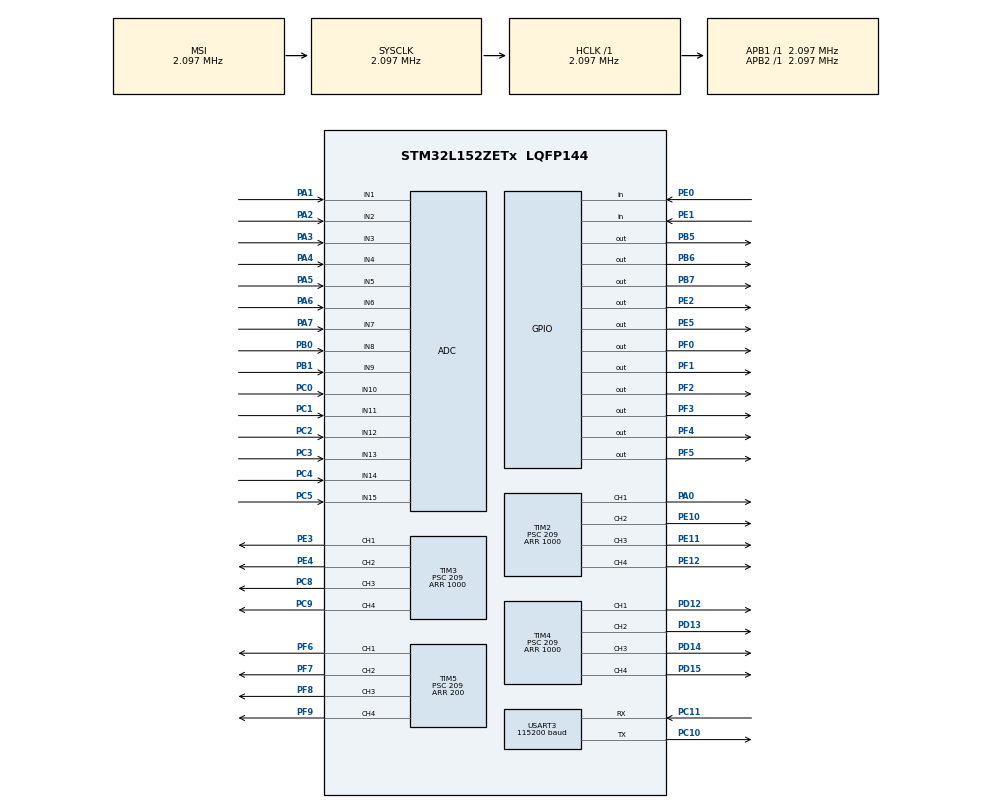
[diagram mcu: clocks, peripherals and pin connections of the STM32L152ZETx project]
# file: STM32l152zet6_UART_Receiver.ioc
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ADC.Channel-48\#ChannelRegularConversion=ADC_CHANNEL_11
ADC.Channel-49\#ChannelRegularConversion=ADC_CHANNEL_12
ADC.Channel-50\#ChannelRegularConversion=ADC_CHANNEL_13
ADC.Channel-51\#ChannelRegularConversion=ADC_CHANNEL_14
ADC.Channel-52\#ChannelRegularConversion=ADC_CHANNEL_15
ADC.Channel-53\#ChannelRegularConversion=ADC_CHANNEL_6
ADC.Channel-54\#ChannelRegularConversion=ADC_CHANNEL_7
ADC.Channel-55\#ChannelRegularConversion=ADC_CHANNEL_8
ADC.Channel-56\#ChannelRegularConversion=ADC_CHANNEL_9
ADC.Channel-57\#ChannelRegularConversion=ADC_CHANNEL_10
ADC.Channel-58\#ChannelRegularConversion=ADC_CHANNEL_1
ADC.ContinuousConvMode=ENABLE
ADC.DMAContinuousRequests=ENABLE
ADC.NbrOfConversion=11
ADC.NbrOfConversionFlag=1
ADC.Rank-48\#ChannelRegularConversion=1
ADC.Rank-49\#ChannelRegularConversion=2
ADC.Rank-50\#ChannelRegularConversion=3
ADC.Rank-51\#ChannelRegularConversion=4
ADC.Rank-52\#ChannelRegularConversion=5
ADC.Rank-53\#ChannelRegularConversion=6
ADC.Rank-54\#ChannelRegularConversion=7
ADC.Rank-55\#ChannelRegularConversion=8
ADC.Rank-56\#ChannelRegularConversion=9
ADC.Rank-57\#ChannelRegularConversion=10
ADC.Rank-58\#ChannelRegularConversion=11
ADC.SamplingTime-48\#ChannelRegularConversion=ADC_SAMPLETIME_384CYCLES
ADC.SamplingTime-49\#ChannelRegularConversion=ADC_SAMPLETIME_384CYCLES
ADC.SamplingTime-50\#ChannelRegularConversion=ADC_SAMPLETIME_384CYCLES
ADC.SamplingTime-51\#ChannelRegularConversion=ADC_SAMPLETIME_384CYCLES
ADC.SamplingTime-52\#ChannelRegularConversion=ADC_SAMPLETIME_384CYCLES
ADC.SamplingTime-53\#ChannelRegularConversion=ADC_SAMPLETIME_384CYCLES
ADC.SamplingTime-54\#ChannelRegularConversion=ADC_SAMPLETIME_384CYCLES
ADC.SamplingTime-55\#ChannelRegularConversion=ADC_SAMPLETIME_384CYCLES
ADC.SamplingTime-56\#ChannelRegularConversion=ADC_SAMPLETIME_384CYCLES
ADC.SamplingTime-57\#ChannelRegularConversion=ADC_SAMPLETIME_384CYCLES
ADC.SamplingTime-58\#ChannelRegularConversion=ADC_SAMPLETIME_384CYCLES
ADC.ScanConvMode=ADC_SCAN_ENABLE
Dma.ADC.0.Direction=DMA_PERIPH_TO_MEMORY
Dma.ADC.0.Instance=DMA1_Channel1
Dma.ADC.0.MemDataAlignment=DMA_MDATAALIGN_WORD
Dma.ADC.0.MemInc=DMA_MINC_ENABLE
Dma.ADC.0.Mode=DMA_CIRCULAR
Dma.ADC.0.PeriphDataAlignment=DMA_PDATAALIGN_WORD
Dma.ADC.0.PeriphInc=DMA_PINC_DISABLE
Dma.ADC.0.Priority=DMA_PRIORITY_LOW
Dma.Request0=ADC
Dma.Request1=USART3_RX
Dma.USART3_RX.1.Direction=DMA_PERIPH_TO_MEMORY
Dma.USART3_RX.1.Instance=DMA1_Channel3
Dma.USART3_RX.1.MemDataAlignment=DMA_MDATAALIGN_BYTE
Dma.USART3_RX.1.MemInc=DMA_MINC_ENABLE
Dma.USART3_RX.1.Mode=DMA_CIRCULAR
Dma.USART3_RX.1.PeriphDataAlignment=DMA_PDATAALIGN_BYTE
Dma.USART3_RX.1.PeriphInc=DMA_PINC_DISABLE
Dma.USART3_RX.1.Priority=DMA_PRIORITY_LOW
Mcu.Family=STM32L1
Mcu.Name=STM32L152ZETx
Mcu.Package=LQFP144
NVIC.DMA1_Channel1_IRQn=true\:0\:0\:false\:false\:true\:false
NVIC.DMA1_Channel3_IRQn=true\:0\:0\:false\:false\:true\:false
NVIC.PriorityGroup=NVIC_PRIORITYGROUP_4
NVIC.TIM10_IRQn=true\:0\:0\:false\:false\:true\:true
NVIC.TIM11_IRQn=true\:0\:0\:false\:false\:true\:true
NVIC.TIM2_IRQn=true\:0\:0\:false\:false\:true\:true
NVIC.TIM3_IRQn=true\:0\:0\:false\:false\:true\:true
NVIC.TIM4_IRQn=true\:0\:0\:false\:false\:true\:true
NVIC.TIM7_IRQn=true\:0\:0\:false\:false\:true\:true
NVIC.USART3_IRQn=true\:0\:0\:false\:false\:true\:true
PA0-WKUP1.Signal=S_TIM2_CH1_ETR
PA1.Mode=IN1
PA1.Signal=ADC_IN1
PA2.Mode=IN2
PA2.Signal=ADC_IN2
PA3.Mode=IN3
PA3.Signal=ADC_IN3
PA4.Mode=IN4
PA4.Signal=ADC_IN4
PA5.Mode=IN5
PA5.Signal=ADC_IN5
PA6.Mode=IN6
PA6.Signal=ADC_IN6
PA7.Mode=IN7
PA7.Signal=ADC_IN7
PB0.Mode=IN8
PB0.Signal=ADC_IN8
PB1.Mode=IN9
PB1.Signal=ADC_IN9
PB5.Signal=GPIO_Output
PB6.Signal=GPIO_Output
PB7.Signal=GPIO_Output
PC0.Mode=IN10
PC0.Signal=ADC_IN10
PC1.Mode=IN11
PC1.Signal=ADC_IN11
PC10.Mode=Asynchronous
PC10.Signal=USART3_TX
PC11.Mode=Asynchronous
PC11.Signal=USART3_RX
PC2.Mode=IN12
PC2.Signal=ADC_IN12
PC3.Mode=IN13
PC3.Signal=ADC_IN13
PC4.Mode=IN14
PC4.Signal=ADC_IN14
PC5.Mode=IN15
PC5.Signal=ADC_IN15
PC8.Signal=S_TIM3_CH3
PC9.Signal=S_TIM3_CH4
PD12.Signal=S_TIM4_CH1
PD13.Signal=S_TIM4_CH2
PD14.Signal=S_TIM4_CH3
PD15.Signal=S_TIM4_CH4
PE0.Signal=GPIO_Input
PE1.Signal=GPIO_Input
PE10.Signal=S_TIM2_CH2
PE11.Signal=S_TIM2_CH3
PE12.Signal=S_TIM2_CH4
PE2.Signal=GPIO_Output
PE3.Signal=S_TIM3_CH1
PE4.Signal=S_TIM3_CH2
PE5.Signal=GPIO_Output
PF0.Signal=GPIO_Output
PF1.Signal=GPIO_Output
PF2.Signal=GPIO_Output
PF3.Signal=GPIO_Output
PF4.Signal=GPIO_Output
PF5.Signal=GPIO_Output
PF6.Signal=S_TIM5_CH1_ETR
PF7.Signal=S_TIM5_CH2
PF8.Signal=S_TIM5_CH3
PF9.Signal=S_TIM5_CH4
ProjectManager.HeapSize=0x200
ProjectManager.StackSize=0x400
ProjectManager.TargetToolchain=SW4STM32
RCC.AHBFreq_Value=2097000
RCC.APB1Freq_Value=2097000
RCC.APB2Freq_Value=2097000
RCC.HSE_VALUE=24000000
RCC.HSI_VALUE=16000000
RCC.LSE_VALUE=32768
RCC.MSI_VALUE=2097000
RCC.SYSCLKFreq_VALUE=2097000
RCC.VCOOutputFreq_Value=48000000
SH.S_TIM2_CH1_ETR.0=TIM2_CH1,PWM Generation1 CH1
SH.S_TIM2_CH2.0=TIM2_CH2,PWM Generation2 CH2
SH.S_TIM2_CH3.0=TIM2_CH3,PWM Generation3 CH3
SH.S_TIM2_CH4.0=TIM2_CH4,PWM Generation4 CH4
SH.S_TIM3_CH1.0=TIM3_CH1,PWM Generation1 CH1
SH.S_TIM3_CH2.0=TIM3_CH2,PWM Generation2 CH2
SH.S_TIM3_CH3.0=TIM3_CH3,PWM Generation3 CH3
SH.S_TIM3_CH4.0=TIM3_CH4,PWM Generation4 CH4
SH.S_TIM4_CH1.0=TIM4_CH1,PWM Generation1 CH1
SH.S_TIM4_CH2.0=TIM4_CH2,PWM Generation2 CH2
SH.S_TIM4_CH3.0=TIM4_CH3,PWM Generation3 CH3
SH.S_TIM4_CH4.0=TIM4_CH4,PWM Generation4 CH4
SH.S_TIM5_CH1_ETR.0=TIM5_CH1,PWM Generation1 CH1
SH.S_TIM5_CH2.0=TIM5_CH2,PWM Generation2 CH2
SH.S_TIM5_CH3.0=TIM5_CH3,PWM Generation3 CH3
SH.S_TIM5_CH4.0=TIM5_CH4,PWM Generation4 CH4
TIM10.Period=3000
TIM10.Prescaler=2097
TIM11.Period=100
TIM11.Prescaler=2097
TIM2.Channel-PWM\ Generation1\ CH1=TIM_CHANNEL_1
TIM2.Channel-PWM\ Generation2\ CH2=TIM_CHANNEL_2
TIM2.Channel-PWM\ Generation3\ CH3=TIM_CHANNEL_3
TIM2.Channel-PWM\ Generation4\ CH4=TIM_CHANNEL_4
TIM2.Period=1000
TIM2.Prescaler=209
TIM3.Channel-PWM\ Generation1\ CH1=TIM_CHANNEL_1
TIM3.Channel-PWM\ Generation2\ CH2=TIM_CHANNEL_2
TIM3.Channel-PWM\ Generation3\ CH3=TIM_CHANNEL_3
TIM3.Channel-PWM\ Generation4\ CH4=TIM_CHANNEL_4
TIM3.Period=1000
TIM3.Prescaler=209
TIM4.Channel-PWM\ Generation1\ CH1=TIM_CHANNEL_1
TIM4.Channel-PWM\ Generation2\ CH2=TIM_CHANNEL_2
TIM4.Channel-PWM\ Generation3\ CH3=TIM_CHANNEL_3
TIM4.Channel-PWM\ Generation4\ CH4=TIM_CHANNEL_4
TIM4.Period=1000
TIM4.Prescaler=209
TIM5.Channel-PWM\ Generation1\ CH1=TIM_CHANNEL_1
TIM5.Channel-PWM\ Generation2\ CH2=TIM_CHANNEL_2
TIM5.Channel-PWM\ Generation3\ CH3=TIM_CHANNEL_3
TIM5.Channel-PWM\ Generation4\ CH4=TIM_CHANNEL_4
TIM5.Period=200
TIM5.Prescaler=209
TIM7.Period=100
TIM7.Prescaler=2097
USART3.BaudRate=115200
USART3.VirtualMode=VM_ASYNC
VP_ADC_Channel3SpeedFast.Mode=Channel3SpeedFast
VP_ADC_Channel8SpeedFast.Mode=Channel8SpeedFast
VP_TIM10_VS_ClockSourceINT.Mode=Internal
VP_TIM11_VS_ClockSourceINT.Mode=Internal
VP_TIM2_VS_ClockSourceINT.Mode=Internal
VP_TIM3_VS_ClockSourceINT.Mode=Internal
VP_TIM4_VS_ClockSourceINT.Mode=Internal
VP_TIM5_VS_ClockSourceINT.Mode=Internal
VP_TIM7_VS_ClockSourceINT.Mode=Enable_Timer
board=custom

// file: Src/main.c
/**
  ******************************************************************************
  * @file           : main.c
  * @brief          : Main program body
  ******************************************************************************
  ** This notice applies to any and all portions of this file
  * that are not between comment pairs USER CODE BEGIN and
  * USER CODE END. Other portions of this file, whether
  * inserted by the user or by software development tools
  * are owned by their respective copyright owners.
  *
  * COPYRIGHT(c) 2018 STMicroelectronics
  *
  * Redistribution and use in source and binary forms, with or without modification,
  * are permitted provided that the following conditions are met:
  *   1. Redistributions of source code must retain the above copyright notice,
  *      this list of conditions and the following disclaimer.
  *   2. Redistributions in binary form must reproduce the above copyright notice,
  *      this list of conditions and the following disclaimer in the documentation
  *      and/or other materials provided with the distribution.
  *   3. Neither the name of STMicroelectronics nor the names of its contributors
  *      may be used to endorse or promote products derived from this software
  *      without specific prior written permission.
  *
  * THIS SOFTWARE IS PROVIDED BY THE COPYRIGHT HOLDERS AND CONTRIBUTORS "AS IS"
  * AND ANY EXPRESS OR IMPLIED WARRANTIES, INCLUDING, BUT NOT LIMITED TO, THE
  * IMPLIED WARRANTIES OF MERCHANTABILITY AND FITNESS FOR A PARTICULAR PURPOSE ARE
  * DISCLAIMED. IN NO EVENT SHALL THE COPYRIGHT HOLDER OR CONTRIBUTORS BE LIABLE
  * FOR ANY DIRECT, INDIRECT, INCIDENTAL, SPECIAL, EXEMPLARY, OR CONSEQUENTIAL
  * DAMAGES (INCLUDING, BUT NOT LIMITED TO, PROCUREMENT OF SUBSTITUTE GOODS OR
  * SERVICES; LOSS OF USE, DATA, OR PROFITS; OR BUSINESS INTERRUPTION) HOWEVER
  * CAUSED AND ON ANY THEORY OF LIABILITY, WHETHER IN CONTRACT, STRICT LIABILITY,
  * OR TORT (INCLUDING NEGLIGENCE OR OTHERWISE) ARISING IN ANY WAY OUT OF THE USE
  * OF THIS SOFTWARE, EVEN IF ADVISED OF THE POSSIBILITY OF SUCH DAMAGE.
  *
  ******************************************************************************
  */
#include "main.h"
#include "stm32l1xx_hal.h"

ADC_HandleTypeDef hadc;
DMA_HandleTypeDef hdma_adc;

TIM_HandleTypeDef htim2;
TIM_HandleTypeDef htim3;
TIM_HandleTypeDef htim4;
TIM_HandleTypeDef htim5;
TIM_HandleTypeDef htim7;
TIM_HandleTypeDef htim10;
TIM_HandleTypeDef htim11;

UART_HandleTypeDef huart3;
DMA_HandleTypeDef hdma_usart3_rx;

/* USER CODE BEGIN PV */
/* Private variables ---------------------------------------------------------*/
#include "stm32l152c_discovery.h"

#define servoInit	2
static GPIO_InitTypeDef GPIO_InitStruct;

int receivedValue=0;
int adcValue=0;
int prev=0;
int count=0;
uint32_t adc[10], prevADC[5];
uint32_t curstep[5], expectedStep[5];
uint32_t sensor[11];
uint32_t servo[5], spiData[5];
long int k=0;

// Temperature PV
int T_errorSum[5] = {0,0,0,0,0};
uint32_t PeltierFlag = 0;
uint32_t * temperature_fb = sensor+5;
uint32_t * temperature_in = adc + 5;
uint32_t HEATING	= 1;
uint32_t	COOLING	= 0;

uint32_t	PELTIER_1 =	0x01;
uint32_t	PELTIER_2 =	0x02;
uint32_t	PELTIER_3 =	0x04;
uint32_t	PELTIER_4 =	0x08;
uint32_t	PELTIER_5 =	0x10;

uint32_t tempV = 0;

/* USER CODE END PV */

void SystemClock_Config(void);
static void MX_GPIO_Init(void);
static void MX_DMA_Init(void);
static void MX_TIM2_Init(void);
static void MX_TIM3_Init(void);
static void MX_TIM10_Init(void);
static void MX_TIM7_Init(void);
static void MX_USART3_UART_Init(void);
static void MX_TIM4_Init(void);
static void MX_TIM5_Init(void);
static void MX_ADC_Init(void);
static void MX_TIM11_Init(void);

void HAL_TIM_MspPostInit(TIM_HandleTypeDef *htim);

/* USER CODE BEGIN PFP */
/* Private function prototypes -----------------------------------------------*/

/* USER CODE END PFP */

/* USER CODE BEGIN 0 */
#include "pwm.h"

//void FourPtAvg(uint32_t N, uint32_t * ADC_data, uint32_t ADC_data_buffer[][5], uint32_t * _ADC_buffer_pt, uint32_t * avg_data){
//	uint32_t temp;
//	for(int i=0; i<N; i++){
//		ADC_data_buffer[*_ADC_buffer_pt][i] = ADC_data[i];
//		temp=0;
//		for(int j=0; j<4; j++){
//			//sum up
//			temp += ADC_data_buffer[j][i];
//		}
//		//do avg
//		temp = temp >> 2;
//		avg_data[i] = temp;
//	}
//	*_ADC_buffer_pt += 1;
//}

void PWM_Peltier_Control(uint32_t * avg_in_data, uint32_t * avg_fb_data, int * errorSum){
	int PWM = 0;
	int tempPWM;
	uint32_t PeltierN = 1;
	int e;
	uint32_t HC = _COOLING;
	for(int i=0; i<5; i++){
			e = TemperatureLinearizeTable[avg_in_data[i]>>4]-TemperatureLinearizeTable[avg_fb_data[i]>>4];
			errorSum[i] = errorSum[i]+e;
			//limit the maximum number
			if (errorSum[i]>10000){errorSum[i]=5000;}
			else if(errorSum[i]<-5000){errorSum[i]=-5000;}

			tempPWM = P_H*e + I_H*(errorSum[i])/I_D_H;
			//choose Heating or Cooling and limit the PWM duty below period
			if(tempPWM>PWM_LIMIT) {
				PWM=PWM_LIMIT;
				HC = _HEATING;
			}else if(tempPWM>0) {
				PWM=tempPWM;
				HC = _HEATING;
			}else if(tempPWM>(PWM_LIMIT *(-1))) {
				PWM=tempPWM*(-1);
				HC = _COOLING;
			}else {
				PWM= PWM_LIMIT;
				HC = _COOLING;
			}
			PWM_Peltier_SetPWM(PeltierN, HC, PWM);

//			PWM_Peltier_SetPWM(PeltierN, _COOLING, 0);

		PWM_Peltier_Start(PeltierN);
		PeltierN = PeltierN << 1; //switch to next Peltier Cooler
	}
}

void PWM_Peltier_SetPWM(uint32_t PeltierN, uint32_t HC, uint32_t PWM){
	if(PeltierN == _PELTIER_1){
		if(HC == _HEATING){
			__HAL_TIM_SetCompare(&htim3, TIM_CHANNEL_1, PWM);
			__HAL_TIM_SetCompare(&htim3, TIM_CHANNEL_2, 0);
		}else{
			__HAL_TIM_SetCompare(&htim3, TIM_CHANNEL_1, 0);
			__HAL_TIM_SetCompare(&htim3, TIM_CHANNEL_2, PWM);
		}

	}else if(PeltierN == _PELTIER_2){
		if(HC == _HEATING){
			__HAL_TIM_SetCompare(&htim3, TIM_CHANNEL_3, PWM);
			__HAL_TIM_SetCompare(&htim3, TIM_CHANNEL_4, 0);
		}else{
			__HAL_TIM_SetCompare(&htim3, TIM_CHANNEL_3, 0);
			__HAL_TIM_SetCompare(&htim3, TIM_CHANNEL_4, PWM);
		}
	}else if(PeltierN == _PELTIER_3){
		if(HC == _HEATING){
			__HAL_TIM_SetCompare(&htim4, TIM_CHANNEL_3, PWM);
			__HAL_TIM_SetCompare(&htim4, TIM_CHANNEL_4, 0);
		}else{
			__HAL_TIM_SetCompare(&htim4, TIM_CHANNEL_3, 0);
			__HAL_TIM_SetCompare(&htim4, TIM_CHANNEL_4, PWM);
		}
	}else if(PeltierN == _PELTIER_4){
		if(HC == _HEATING){
			__HAL_TIM_SetCompare(&htim4, TIM_CHANNEL_1, PWM);
			__HAL_TIM_SetCompare(&htim4, TIM_CHANNEL_2, 0);
		}else{
			__HAL_TIM_SetCompare(&htim4, TIM_CHANNEL_1, 0);
			__HAL_TIM_SetCompare(&htim4, TIM_CHANNEL_2, PWM);
		}
	}else{
		if(HC == _HEATING){
			__HAL_TIM_SetCompare(&htim2, TIM_CHANNEL_3, PWM);
			__HAL_TIM_SetCompare(&htim2, TIM_CHANNEL_4, 0);
		}else{
			__HAL_TIM_SetCompare(&htim2, TIM_CHANNEL_3, 0);
			__HAL_TIM_SetCompare(&htim2, TIM_CHANNEL_4, PWM);
		}
	}
}

void PWM_Peltier_Start(uint32_t PeltierN){
	if(PeltierN == _PELTIER_1){
		HAL_TIM_PWM_Start(&htim3, TIM_CHANNEL_1);
		HAL_TIM_PWM_Start(&htim3, TIM_CHANNEL_2);
	}else if(PeltierN == _PELTIER_2){
		HAL_TIM_PWM_Start(&htim3, TIM_CHANNEL_3);
		HAL_TIM_PWM_Start(&htim3, TIM_CHANNEL_4);
	}else if(PeltierN == _PELTIER_3){
		HAL_TIM_PWM_Start(&htim4, TIM_CHANNEL_3);
		HAL_TIM_PWM_Start(&htim4, TIM_CHANNEL_4);
	}else if(PeltierN == _PELTIER_4){
		HAL_TIM_PWM_Start(&htim4, TIM_CHANNEL_1);
		HAL_TIM_PWM_Start(&htim4, TIM_CHANNEL_2);
	}else{
		HAL_TIM_PWM_Start(&htim2, TIM_CHANNEL_3);
		HAL_TIM_PWM_Start(&htim2, TIM_CHANNEL_4);
	}
}

void PWM_Peltier_SetPeltierArray(uint32_t PeltierArray, uint32_t PeltierArrayHC, uint32_t * PeltierArrayPWM){
	if(PeltierArray & _PELTIER_1){
		//set Peltier 1 pwm value
		PWM_Peltier_SetPWM(_PELTIER_1, PeltierArrayHC & _PELTIER_1, PeltierArrayPWM[0]);
	}if(PeltierArray & _PELTIER_2){
		//PELTIER_2
		PWM_Peltier_SetPWM(_PELTIER_2, PeltierArrayHC & _PELTIER_2, PeltierArrayPWM[1]);
	}if(PeltierArray & _PELTIER_3){
		//PELTIER_3
		PWM_Peltier_SetPWM(_PELTIER_3, PeltierArrayHC & _PELTIER_3, PeltierArrayPWM[2]);
	}if(PeltierArray & _PELTIER_4){
		//PELTIER_4
		PWM_Peltier_SetPWM(_PELTIER_4, PeltierArrayHC & _PELTIER_4, PeltierArrayPWM[3]);
	}if(PeltierArray & _PELTIER_5){
		//PELTIER_5
		PWM_Peltier_SetPWM(_PELTIER_5, PeltierArrayHC & _PELTIER_5, PeltierArrayPWM[4]);
	}
}

void setupLED()
{
  LED3_GPIO_CLK_ENABLE();

  /*Configure GPIO pin : LED_3_Pin */
  GPIO_InitStruct.Pin = LED3_PIN;
  GPIO_InitStruct.Mode = GPIO_MODE_OUTPUT_PP;
  GPIO_InitStruct.Pull = GPIO_NOPULL;
  GPIO_InitStruct.Speed = GPIO_SPEED_FREQ_LOW;
  HAL_GPIO_Init(LED3_GPIO_PORT, &GPIO_InitStruct);

  /*Configure GPIO pin : LED_4_Pin */
  LED4_GPIO_CLK_ENABLE();

  GPIO_InitStruct.Pin = LED4_PIN;
  GPIO_InitStruct.Mode = GPIO_MODE_OUTPUT_PP;
  GPIO_InitStruct.Pull = GPIO_NOPULL;
  GPIO_InitStruct.Speed = GPIO_SPEED_FREQ_LOW;
  HAL_GPIO_Init(LED4_GPIO_PORT, &GPIO_InitStruct);

  GPIO_InitStruct.Pin = GPIO_PIN_8;
  GPIO_InitStruct.Mode = GPIO_MODE_OUTPUT_PP;
  GPIO_InitStruct.Pull = GPIO_NOPULL;
  GPIO_InitStruct.Speed = GPIO_SPEED_FREQ_LOW;
  HAL_GPIO_Init(GPIOA, &GPIO_InitStruct);
}
void setupPressureFB()
{
  // PB5,6, PE2,5, PF0~5
  /* GPIOx Periph clock enable */
  RCC->AHBENR |= RCC_AHBENR_GPIOBEN | RCC_AHBENR_GPIOEEN | RCC_AHBENR_GPIOFEN;
  /* Configure Pxx in output  mode  */
  GPIOB->MODER |= (GPIO_MODER_MODER5_0 | GPIO_MODER_MODER6_0);
  GPIOE->MODER |= (GPIO_MODER_MODER2_0 | GPIO_MODER_MODER5_0);
  GPIOF->MODER |= (GPIO_MODER_MODER0_0 | GPIO_MODER_MODER1_0 | GPIO_MODER_MODER2_0 | GPIO_MODER_MODER3_0 | GPIO_MODER_MODER4_0 | GPIO_MODER_MODER5_0);
  // Ensure push pull mode selected--default
  GPIOB->OTYPER &= ~(GPIO_OTYPER_OT_5 | GPIO_OTYPER_OT_6);
  GPIOE->OTYPER &= ~(GPIO_OTYPER_OT_2 | GPIO_OTYPER_OT_5);
  GPIOF->OTYPER &= ~(GPIO_OTYPER_OT_0 | GPIO_OTYPER_OT_1 | GPIO_OTYPER_OT_2 | GPIO_OTYPER_OT_3 | GPIO_OTYPER_OT_4 | GPIO_OTYPER_OT_5);
  //Ensure all pull up pull down resistors are disabled
  GPIOB->PUPDR &= ~(GPIO_PUPDR_PUPDR5|GPIO_PUPDR_PUPDR6);
  GPIOE->PUPDR &= ~(GPIO_PUPDR_PUPDR2|GPIO_PUPDR_PUPDR5);
  GPIOF->PUPDR &= ~(GPIO_PUPDR_PUPDR0|GPIO_PUPDR_PUPDR1|GPIO_PUPDR_PUPDR2|GPIO_PUPDR_PUPDR3|GPIO_PUPDR_PUPDR4|GPIO_PUPDR_PUPDR5);
}
void forward0() {
	HAL_GPIO_WritePin(GPIOB, GPIO_PIN_5, GPIO_PIN_RESET);
	HAL_GPIO_WritePin(GPIOB, GPIO_PIN_6, GPIO_PIN_SET);
}
void backward0() {
	HAL_GPIO_WritePin(GPIOB, GPIO_PIN_5, GPIO_PIN_SET);
	HAL_GPIO_WritePin(GPIOB, GPIO_PIN_6, GPIO_PIN_RESET);
}
void stop0() {
	HAL_GPIO_WritePin(GPIOB, GPIO_PIN_5, GPIO_PIN_RESET);
	HAL_GPIO_WritePin(GPIOB, GPIO_PIN_6, GPIO_PIN_RESET);
}
void forward1() {
	HAL_GPIO_WritePin(GPIOE, GPIO_PIN_2, GPIO_PIN_RESET);
	HAL_GPIO_WritePin(GPIOE, GPIO_PIN_5, GPIO_PIN_SET);
}
void backward1() {
	HAL_GPIO_WritePin(GPIOE, GPIO_PIN_2, GPIO_PIN_SET);
	HAL_GPIO_WritePin(GPIOE, GPIO_PIN_5, GPIO_PIN_RESET);
}
void stop1() {
	HAL_GPIO_WritePin(GPIOE, GPIO_PIN_2, GPIO_PIN_RESET);
	HAL_GPIO_WritePin(GPIOE, GPIO_PIN_5, GPIO_PIN_RESET);
}
void forward2() {
	HAL_GPIO_WritePin(GPIOF, GPIO_PIN_0, GPIO_PIN_RESET);
	HAL_GPIO_WritePin(GPIOF, GPIO_PIN_1, GPIO_PIN_SET);
}
void backward2() {
	HAL_GPIO_WritePin(GPIOF, GPIO_PIN_0, GPIO_PIN_SET);
	HAL_GPIO_WritePin(GPIOF, GPIO_PIN_1, GPIO_PIN_RESET);
}
void stop2() {
	HAL_GPIO_WritePin(GPIOF, GPIO_PIN_0, GPIO_PIN_RESET);
	HAL_GPIO_WritePin(GPIOF, GPIO_PIN_1, GPIO_PIN_RESET);
}
void forward3() {
	HAL_GPIO_WritePin(GPIOF, GPIO_PIN_2, GPIO_PIN_RESET);
	HAL_GPIO_WritePin(GPIOF, GPIO_PIN_3, GPIO_PIN_SET);
}
void backward3() {
	HAL_GPIO_WritePin(GPIOF, GPIO_PIN_2, GPIO_PIN_SET);
	HAL_GPIO_WritePin(GPIOF, GPIO_PIN_3, GPIO_PIN_RESET);
}
void stop3() {
	HAL_GPIO_WritePin(GPIOF, GPIO_PIN_2, GPIO_PIN_RESET);
	HAL_GPIO_WritePin(GPIOF, GPIO_PIN_3, GPIO_PIN_RESET);
}
void forward4() {
	HAL_GPIO_WritePin(GPIOF, GPIO_PIN_4, GPIO_PIN_RESET);
	HAL_GPIO_WritePin(GPIOF, GPIO_PIN_5, GPIO_PIN_SET);
}
void backward4() {
	HAL_GPIO_WritePin(GPIOF, GPIO_PIN_4, GPIO_PIN_SET);
	HAL_GPIO_WritePin(GPIOF, GPIO_PIN_5, GPIO_PIN_RESET);
}
void stop4() {
	HAL_GPIO_WritePin(GPIOF, GPIO_PIN_4, GPIO_PIN_RESET);
	HAL_GPIO_WritePin(GPIOF, GPIO_PIN_5, GPIO_PIN_RESET);
}
void resetLA(int time) {
	backward0();
	backward1();
	backward2();
	backward3();
	backward4();
	for(k=0;k<time;k++) {}
	stop0();
	stop1();
	stop2();
	stop3();
	stop4();
}
void turnLA()
{
	if(adc[0] > 2000) {
		expectedStep[0] = (4200 - adc[0]) / 400;
		if(curstep[0] < expectedStep[0]) {
			forward0();
			curstep[0] += 1;
		} else if(curstep[0] > expectedStep[0]) {
			backward0();
			curstep[0] -= 1;
		} else {
			stop0();
		}
		prevADC[0] = adc[0];
	}
	if(adc[1] > 2000) {
		expectedStep[1] = (4200 - adc[1]) / 400;
		if(curstep[1] < expectedStep[1]) {
			forward1();
			curstep[1] += 1;
		} else if(curstep[1] > expectedStep[1]) {
			backward1();
			curstep[1] -= 1;
		} else {
			stop1();
		}
		prevADC[1] = adc[1];
	}
	if(adc[2] > 2000) {
		expectedStep[2] = (4200 - adc[2]) / 400;
		if(curstep[2] < expectedStep[2]) {
			forward2();
			curstep[2] += 1;
		} else if(curstep[2] > expectedStep[2]) {
			backward2();
			curstep[2] -= 1;
		} else {
			stop2();
		}
		prevADC[2] = adc[2];
	}
	if(adc[3] > 2000) {
		expectedStep[3] = (4200 - adc[3]) / 400;
		if(curstep[3] < expectedStep[3]) {
			forward3();
			curstep[3] += 1;
		} else if(curstep[3] > expectedStep[3]) {
			backward3();
			curstep[3] -= 1;
		} else {
			stop3();
		}
		prevADC[3] = adc[3];
	}
	if(adc[4] > 2000) {
		expectedStep[4] = (4200 - adc[4]) / 400;
		if(curstep[4] < expectedStep[4]) {
			forward4();
			curstep[4] += 1;
		} else if(curstep[4] > expectedStep[4]) {
			backward4();
			curstep[4] -= 1;
		} else {
			stop4();
		}
		prevADC[4] = adc[4];
	}
}
void HAL_TIM_PeriodElapsedCallback(TIM_HandleTypeDef *htim)
{
	if(htim->Instance == TIM2) {

	} else if(htim->Instance == TIM3) {
	} else if(htim->Instance == TIM4) {
		PeltierFlag = !PeltierFlag;
	} else if(htim->Instance == TIM7) {
//		if(sensor[10] <= 4000) {
//			servo[0] = sensor[0];
//			servo[1] = sensor[1];
//			servo[2] = sensor[2];
//			servo[3] = sensor[3];
//			servo[4] = sensor[4];
//			HAL_UART_Transmit(&huart3, servo, sizeof(servo), 100);
//		} else {
//			spiData[0] = 3300;
//			spiData[1] = 3300;
//			spiData[2] = 3300;
//			spiData[3] = 3300;
//			spiData[4] = 3300;
//			HAL_UART_Transmit(&huart3, spiData, sizeof(spiData), 100);
//		}
		servo[0] = sensor[0];
		servo[1] = sensor[1];
		servo[2] = sensor[2];
		servo[3] = sensor[3];
		servo[4] = sensor[4];
		HAL_UART_Transmit(&huart3, servo, sizeof(servo), 100);
	} else if(htim->Instance == TIM10) {
		if(adc[0] > 4000 && prevADC[0] > 4000) {
			backward0();
		}
		if(adc[1] > 4000 && prevADC[1] > 4000) {
			backward1();
		}
		if(adc[2] > 4000 && prevADC[2] > 4000) {
			backward2();
		}
		if(adc[3] > 4000 && prevADC[3] > 4000) {
			backward3();
		}
		if(adc[4] > 4000 && prevADC[4] > 4000) {
			backward4();
		}
		for(int i=0;i<300000;i++) {}
		stop0();
		stop1();
		stop2();
		stop3();
		stop4();
	} else if(htim->Instance == TIM11) {
		turnLA();
	}
}
void HAL_UART_RxCpltCallback(UART_HandleTypeDef *huart)
{
	// Pressure Sensor
	// ADCDMA: 1600 ~ 2200
	// ADCPoll: 2600 ~ 4200
}
void HAL_UART_RxHalfCpltCallback(UART_HandleTypeDef *huart)
{
}
void HAL_ADC_ConvCpltCallback(ADC_HandleTypeDef* hadc)
{
}
/* USER CODE END 0 */

int main(void)
{

  /* MCU Configuration----------------------------------------------------------*/

  /* Reset of all peripherals, Initializes the Flash interface and the Systick. */
  HAL_Init();

  /* Configure the system clock */
  SystemClock_Config();

  /* Initialize all configured peripherals */
  MX_GPIO_Init();
  MX_DMA_Init();
  MX_TIM2_Init();
  MX_TIM3_Init();
  MX_TIM10_Init();
  MX_TIM7_Init();
  MX_USART3_UART_Init();
  MX_TIM4_Init();
  MX_TIM5_Init();
  MX_ADC_Init();
  MX_TIM11_Init();
  /* USER CODE BEGIN 2 */
//  HAL_TIM_PWM_Start(&htim2, TIM_CHANNEL_1);
//  HAL_TIM_PWM_Start(&htim2, TIM_CHANNEL_2);
  setupLED();
  setupPressureFB();
  // 210k in for loop is the limit of linear actuator
  resetLA(210000);
  HAL_TIM_Base_Start_IT(&htim2);
  HAL_TIM_Base_Start_IT(&htim3);
  HAL_TIM_Base_Start_IT(&htim4);
  HAL_TIM_Base_Start_IT(&htim7);
  HAL_TIM_Base_Start_IT(&htim10);
  HAL_TIM_Base_Start_IT(&htim11);
  HAL_UART_Receive_DMA(&huart3, adc, sizeof(adc));
  HAL_ADC_Start_DMA(&hadc, sensor, 11);
  /* USER CODE END 2 */

  /* Infinite loop */
  while (1)
  {

  /* USER CODE BEGIN 3 */
//	  HAL_GPIO_TogglePin(GPIOA, GPIO_PIN_8);
//	  HAL_Delay(100);
	  if(PeltierFlag == 0){
		  HAL_GPIO_TogglePin(GPIOA, GPIO_PIN_8);
		  PWM_Peltier_Control(temperature_in, temperature_fb, T_errorSum);
	  }
  }
  /* USER CODE END 3 */

}

void SystemClock_Config(void)
{

  RCC_OscInitTypeDef RCC_OscInitStruct;
  RCC_ClkInitTypeDef RCC_ClkInitStruct;

    /**Configure the main internal regulator output voltage
    */
  __HAL_PWR_VOLTAGESCALING_CONFIG(PWR_REGULATOR_VOLTAGE_SCALE1);

    /**Initializes the CPU, AHB and APB busses clocks
    */
  RCC_OscInitStruct.OscillatorType = RCC_OSCILLATORTYPE_HSI|RCC_OSCILLATORTYPE_MSI;
  RCC_OscInitStruct.HSIState = RCC_HSI_ON;
  RCC_OscInitStruct.HSICalibrationValue = 16;
  RCC_OscInitStruct.MSIState = RCC_MSI_ON;
  RCC_OscInitStruct.MSICalibrationValue = 0;
  RCC_OscInitStruct.MSIClockRange = RCC_MSIRANGE_5;
  RCC_OscInitStruct.PLL.PLLState = RCC_PLL_NONE;
  if (HAL_RCC_OscConfig(&RCC_OscInitStruct) != HAL_OK)
  {
    _Error_Handler(__FILE__, __LINE__);
  }

    /**Initializes the CPU, AHB and APB busses clocks
    */
  RCC_ClkInitStruct.ClockType = RCC_CLOCKTYPE_HCLK|RCC_CLOCKTYPE_SYSCLK
                              |RCC_CLOCKTYPE_PCLK1|RCC_CLOCKTYPE_PCLK2;
  RCC_ClkInitStruct.SYSCLKSource = RCC_SYSCLKSOURCE_MSI;
  RCC_ClkInitStruct.AHBCLKDivider = RCC_SYSCLK_DIV1;
  RCC_ClkInitStruct.APB1CLKDivider = RCC_HCLK_DIV1;
  RCC_ClkInitStruct.APB2CLKDivider = RCC_HCLK_DIV1;

  if (HAL_RCC_ClockConfig(&RCC_ClkInitStruct, FLASH_LATENCY_0) != HAL_OK)
  {
    _Error_Handler(__FILE__, __LINE__);
  }

    /**Configure the Systick interrupt time
    */
  HAL_SYSTICK_Config(HAL_RCC_GetHCLKFreq()/1000);

    /**Configure the Systick
    */
  HAL_SYSTICK_CLKSourceConfig(SYSTICK_CLKSOURCE_HCLK);

  /* SysTick_IRQn interrupt configuration */
  HAL_NVIC_SetPriority(SysTick_IRQn, 0, 0);
}

/* ADC init function */
static void MX_ADC_Init(void)
{

  ADC_ChannelConfTypeDef sConfig;

    /**Configure the global features of the ADC (Clock, Resolution, Data Alignment and number of conversion)
    */
  hadc.Instance = ADC1;
  hadc.Init.ClockPrescaler = ADC_CLOCK_ASYNC_DIV1;
  hadc.Init.Resolution = ADC_RESOLUTION_12B;
  hadc.Init.DataAlign = ADC_DATAALIGN_RIGHT;
  hadc.Init.ScanConvMode = ADC_SCAN_ENABLE;
  hadc.Init.EOCSelection = ADC_EOC_SEQ_CONV;
  hadc.Init.LowPowerAutoWait = ADC_AUTOWAIT_DISABLE;
  hadc.Init.LowPowerAutoPowerOff = ADC_AUTOPOWEROFF_DISABLE;
  hadc.Init.ChannelsBank = ADC_CHANNELS_BANK_A;
  hadc.Init.ContinuousConvMode = ENABLE;
  hadc.Init.NbrOfConversion = 11;
  hadc.Init.DiscontinuousConvMode = DISABLE;
  hadc.Init.ExternalTrigConv = ADC_SOFTWARE_START;
  hadc.Init.ExternalTrigConvEdge = ADC_EXTERNALTRIGCONVEDGE_NONE;
  hadc.Init.DMAContinuousRequests = ENABLE;
  if (HAL_ADC_Init(&hadc) != HAL_OK)
  {
    _Error_Handler(__FILE__, __LINE__);
  }

    /**Configure the channel speed in Fast mode
    */
  __HAL_ADC_CHANNEL_SPEED_FAST(ADC_CHANNEL_3);

    /**Configure the channel speed in Fast mode
    */
  __HAL_ADC_CHANNEL_SPEED_FAST(ADC_CHANNEL_8);

    /**Configure for the selected ADC regular channel its corresponding rank in the sequencer and its sample time.
    */
  sConfig.Channel = ADC_CHANNEL_11;
  sConfig.Rank = ADC_REGULAR_RANK_1;
  sConfig.SamplingTime = ADC_SAMPLETIME_384CYCLES;
  if (HAL_ADC_ConfigChannel(&hadc, &sConfig) != HAL_OK)
  {
    _Error_Handler(__FILE__, __LINE__);
  }

    /**Configure for the selected ADC regular channel its corresponding rank in the sequencer and its sample time.
    */
  sConfig.Channel = ADC_CHANNEL_12;
  sConfig.Rank = ADC_REGULAR_RANK_2;
  if (HAL_ADC_ConfigChannel(&hadc, &sConfig) != HAL_OK)
  {
    _Error_Handler(__FILE__, __LINE__);
  }

    /**Configure for the selected ADC regular channel its corresponding rank in the sequencer and its sample time.
    */
  sConfig.Channel = ADC_CHANNEL_13;
  sConfig.Rank = ADC_REGULAR_RANK_3;
  if (HAL_ADC_ConfigChannel(&hadc, &sConfig) != HAL_OK)
  {
    _Error_Handler(__FILE__, __LINE__);
  }

    /**Configure for the selected ADC regular channel its corresponding rank in the sequencer and its sample time.
    */
  sConfig.Channel = ADC_CHANNEL_14;
  sConfig.Rank = ADC_REGULAR_RANK_4;
  if (HAL_ADC_ConfigChannel(&hadc, &sConfig) != HAL_OK)
  {
    _Error_Handler(__FILE__, __LINE__);
  }

    /**Configure for the selected ADC regular channel its corresponding rank in the sequencer and its sample time.
    */
  sConfig.Channel = ADC_CHANNEL_15;
  sConfig.Rank = ADC_REGULAR_RANK_5;
  if (HAL_ADC_ConfigChannel(&hadc, &sConfig) != HAL_OK)
  {
    _Error_Handler(__FILE__, __LINE__);
  }

    /**Configure for the selected ADC regular channel its corresponding rank in the sequencer and its sample time.
    */
  sConfig.Channel = ADC_CHANNEL_6;
  sConfig.Rank = ADC_REGULAR_RANK_6;
  if (HAL_ADC_ConfigChannel(&hadc, &sConfig) != HAL_OK)
  {
    _Error_Handler(__FILE__, __LINE__);
  }

    /**Configure for the selected ADC regular channel its corresponding rank in the sequencer and its sample time.
    */
  sConfig.Channel = ADC_CHANNEL_7;
  sConfig.Rank = ADC_REGULAR_RANK_7;
  if (HAL_ADC_ConfigChannel(&hadc, &sConfig) != HAL_OK)
  {
    _Error_Handler(__FILE__, __LINE__);
  }

    /**Configure for the selected ADC regular channel its corresponding rank in the sequencer and its sample time.
    */
  sConfig.Channel = ADC_CHANNEL_8;
  sConfig.Rank = ADC_REGULAR_RANK_8;
  if (HAL_ADC_ConfigChannel(&hadc, &sConfig) != HAL_OK)
  {
    _Error_Handler(__FILE__, __LINE__);
  }

    /**Configure for the selected ADC regular channel its corresponding rank in the sequencer and its sample time.
    */
  sConfig.Channel = ADC_CHANNEL_9;
  sConfig.Rank = ADC_REGULAR_RANK_9;
  if (HAL_ADC_ConfigChannel(&hadc, &sConfig) != HAL_OK)
  {
    _Error_Handler(__FILE__, __LINE__);
  }

    /**Configure for the selected ADC regular channel its corresponding rank in the sequencer and its sample time.
    */
  sConfig.Channel = ADC_CHANNEL_10;
  sConfig.Rank = ADC_REGULAR_RANK_10;
  if (HAL_ADC_ConfigChannel(&hadc, &sConfig) != HAL_OK)
  {
    _Error_Handler(__FILE__, __LINE__);
  }

    /**Configure for the selected ADC regular channel its corresponding rank in the sequencer and its sample time.
    */
  sConfig.Channel = ADC_CHANNEL_1;
  sConfig.Rank = ADC_REGULAR_RANK_11;
  if (HAL_ADC_ConfigChannel(&hadc, &sConfig) != HAL_OK)
  {
    _Error_Handler(__FILE__, __LINE__);
  }

}

/* TIM2 init function */
static void MX_TIM2_Init(void)
{

  TIM_ClockConfigTypeDef sClockSourceConfig;
  TIM_MasterConfigTypeDef sMasterConfig;
  TIM_OC_InitTypeDef sConfigOC;

  htim2.Instance = TIM2;
  htim2.Init.Prescaler = 209;
  htim2.Init.CounterMode = TIM_COUNTERMODE_UP;
  htim2.Init.Period = 1000;
  htim2.Init.ClockDivision = TIM_CLOCKDIVISION_DIV1;
  if (HAL_TIM_Base_Init(&htim2) != HAL_OK)
  {
    _Error_Handler(__FILE__, __LINE__);
  }

  sClockSourceConfig.ClockSource = TIM_CLOCKSOURCE_INTERNAL;
  if (HAL_TIM_ConfigClockSource(&htim2, &sClockSourceConfig) != HAL_OK)
  {
    _Error_Handler(__FILE__, __LINE__);
  }

  if (HAL_TIM_PWM_Init(&htim2) != HAL_OK)
  {
    _Error_Handler(__FILE__, __LINE__);
  }

  sMasterConfig.MasterOutputTrigger = TIM_TRGO_RESET;
  sMasterConfig.MasterSlaveMode = TIM_MASTERSLAVEMODE_DISABLE;
  if (HAL_TIMEx_MasterConfigSynchronization(&htim2, &sMasterConfig) != HAL_OK)
  {
    _Error_Handler(__FILE__, __LINE__);
  }

  sConfigOC.OCMode = TIM_OCMODE_PWM1;
  sConfigOC.Pulse = 0;
  sConfigOC.OCPolarity = TIM_OCPOLARITY_HIGH;
  sConfigOC.OCFastMode = TIM_OCFAST_DISABLE;
  if (HAL_TIM_PWM_ConfigChannel(&htim2, &sConfigOC, TIM_CHANNEL_1) != HAL_OK)
  {
    _Error_Handler(__FILE__, __LINE__);
  }

  if (HAL_TIM_PWM_ConfigChannel(&htim2, &sConfigOC, TIM_CHANNEL_2) != HAL_OK)
  {
    _Error_Handler(__FILE__, __LINE__);
  }

  if (HAL_TIM_PWM_ConfigChannel(&htim2, &sConfigOC, TIM_CHANNEL_3) != HAL_OK)
  {
    _Error_Handler(__FILE__, __LINE__);
  }

  if (HAL_TIM_PWM_ConfigChannel(&htim2, &sConfigOC, TIM_CHANNEL_4) != HAL_OK)
  {
    _Error_Handler(__FILE__, __LINE__);
  }

  HAL_TIM_MspPostInit(&htim2);

}

/* TIM3 init function */
static void MX_TIM3_Init(void)
{

  TIM_ClockConfigTypeDef sClockSourceConfig;
  TIM_MasterConfigTypeDef sMasterConfig;
  TIM_OC_InitTypeDef sConfigOC;

  htim3.Instance = TIM3;
  htim3.Init.Prescaler = 209;
  htim3.Init.CounterMode = TIM_COUNTERMODE_UP;
  htim3.Init.Period = 1000;
  htim3.Init.ClockDivision = TIM_CLOCKDIVISION_DIV1;
  if (HAL_TIM_Base_Init(&htim3) != HAL_OK)
  {
    _Error_Handler(__FILE__, __LINE__);
  }

  sClockSourceConfig.ClockSource = TIM_CLOCKSOURCE_INTERNAL;
  if (HAL_TIM_ConfigClockSource(&htim3, &sClockSourceConfig) != HAL_OK)
  {
    _Error_Handler(__FILE__, __LINE__);
  }

  if (HAL_TIM_PWM_Init(&htim3) != HAL_OK)
  {
    _Error_Handler(__FILE__, __LINE__);
  }

  sMasterConfig.MasterOutputTrigger = TIM_TRGO_RESET;
  sMasterConfig.MasterSlaveMode = TIM_MASTERSLAVEMODE_DISABLE;
  if (HAL_TIMEx_MasterConfigSynchronization(&htim3, &sMasterConfig) != HAL_OK)
  {
    _Error_Handler(__FILE__, __LINE__);
  }

  sConfigOC.OCMode = TIM_OCMODE_PWM1;
  sConfigOC.Pulse = 0;
  sConfigOC.OCPolarity = TIM_OCPOLARITY_HIGH;
  sConfigOC.OCFastMode = TIM_OCFAST_DISABLE;
  if (HAL_TIM_PWM_ConfigChannel(&htim3, &sConfigOC, TIM_CHANNEL_1) != HAL_OK)
  {
    _Error_Handler(__FILE__, __LINE__);
  }

  if (HAL_TIM_PWM_ConfigChannel(&htim3, &sConfigOC, TIM_CHANNEL_2) != HAL_OK)
  {
    _Error_Handler(__FILE__, __LINE__);
  }

  if (HAL_TIM_PWM_ConfigChannel(&htim3, &sConfigOC, TIM_CHANNEL_3) != HAL_OK)
  {
    _Error_Handler(__FILE__, __LINE__);
  }

  if (HAL_TIM_PWM_ConfigChannel(&htim3, &sConfigOC, TIM_CHANNEL_4) != HAL_OK)
  {
    _Error_Handler(__FILE__, __LINE__);
  }

  HAL_TIM_MspPostInit(&htim3);

}

/* TIM4 init function */
static void MX_TIM4_Init(void)
{

  TIM_ClockConfigTypeDef sClockSourceConfig;
  TIM_MasterConfigTypeDef sMasterConfig;
  TIM_OC_InitTypeDef sConfigOC;

  htim4.Instance = TIM4;
  htim4.Init.Prescaler = 209;
  htim4.Init.CounterMode = TIM_COUNTERMODE_UP;
  htim4.Init.Period = 1000;
  htim4.Init.ClockDivision = TIM_CLOCKDIVISION_DIV1;
  if (HAL_TIM_Base_Init(&htim4) != HAL_OK)
  {
    _Error_Handler(__FILE__, __LINE__);
  }

  sClockSourceConfig.ClockSource = TIM_CLOCKSOURCE_INTERNAL;
  if (HAL_TIM_ConfigClockSource(&htim4, &sClockSourceConfig) != HAL_OK)
  {
    _Error_Handler(__FILE__, __LINE__);
  }

  if (HAL_TIM_PWM_Init(&htim4) != HAL_OK)
  {
    _Error_Handler(__FILE__, __LINE__);
  }

  sMasterConfig.MasterOutputTrigger = TIM_TRGO_RESET;
  sMasterConfig.MasterSlaveMode = TIM_MASTERSLAVEMODE_DISABLE;
  if (HAL_TIMEx_MasterConfigSynchronization(&htim4, &sMasterConfig) != HAL_OK)
  {
    _Error_Handler(__FILE__, __LINE__);
  }

  sConfigOC.OCMode = TIM_OCMODE_PWM1;
  sConfigOC.Pulse = 0;
  sConfigOC.OCPolarity = TIM_OCPOLARITY_HIGH;
  sConfigOC.OCFastMode = TIM_OCFAST_DISABLE;
  if (HAL_TIM_PWM_ConfigChannel(&htim4, &sConfigOC, TIM_CHANNEL_1) != HAL_OK)
  {
    _Error_Handler(__FILE__, __LINE__);
  }

  if (HAL_TIM_PWM_ConfigChannel(&htim4, &sConfigOC, TIM_CHANNEL_2) != HAL_OK)
  {
    _Error_Handler(__FILE__, __LINE__);
  }

  if (HAL_TIM_PWM_ConfigChannel(&htim4, &sConfigOC, TIM_CHANNEL_3) != HAL_OK)
  {
    _Error_Handler(__FILE__, __LINE__);
  }

  if (HAL_TIM_PWM_ConfigChannel(&htim4, &sConfigOC, TIM_CHANNEL_4) != HAL_OK)
  {
    _Error_Handler(__FILE__, __LINE__);
  }

  HAL_TIM_MspPostInit(&htim4);

}

/* TIM5 init function */
static void MX_TIM5_Init(void)
{

  TIM_ClockConfigTypeDef sClockSourceConfig;
  TIM_MasterConfigTypeDef sMasterConfig;
  TIM_OC_InitTypeDef sConfigOC;

  htim5.Instance = TIM5;
  htim5.Init.Prescaler = 209;
  htim5.Init.CounterMode = TIM_COUNTERMODE_UP;
  htim5.Init.Period = 200;
  htim5.Init.ClockDivision = TIM_CLOCKDIVISION_DIV1;
  if (HAL_TIM_Base_Init(&htim5) != HAL_OK)
  {
    _Error_Handler(__FILE__, __LINE__);
  }

  sClockSourceConfig.ClockSource = TIM_CLOCKSOURCE_INTERNAL;
  if (HAL_TIM_ConfigClockSource(&htim5, &sClockSourceConfig) != HAL_OK)
  {
    _Error_Handler(__FILE__, __LINE__);
  }

  if (HAL_TIM_PWM_Init(&htim5) != HAL_OK)
  {
    _Error_Handler(__FILE__, __LINE__);
  }

  sMasterConfig.MasterOutputTrigger = TIM_TRGO_RESET;
  sMasterConfig.MasterSlaveMode = TIM_MASTERSLAVEMODE_DISABLE;
  if (HAL_TIMEx_MasterConfigSynchronization(&htim5, &sMasterConfig) != HAL_OK)
  {
    _Error_Handler(__FILE__, __LINE__);
  }

  sConfigOC.OCMode = TIM_OCMODE_PWM1;
  sConfigOC.Pulse = 0;
  sConfigOC.OCPolarity = TIM_OCPOLARITY_HIGH;
  sConfigOC.OCFastMode = TIM_OCFAST_DISABLE;
  if (HAL_TIM_PWM_ConfigChannel(&htim5, &sConfigOC, TIM_CHANNEL_1) != HAL_OK)
  {
    _Error_Handler(__FILE__, __LINE__);
  }

  if (HAL_TIM_PWM_ConfigChannel(&htim5, &sConfigOC, TIM_CHANNEL_2) != HAL_OK)
  {
    _Error_Handler(__FILE__, __LINE__);
  }

  if (HAL_TIM_PWM_ConfigChannel(&htim5, &sConfigOC, TIM_CHANNEL_3) != HAL_OK)
  {
    _Error_Handler(__FILE__, __LINE__);
  }

  if (HAL_TIM_PWM_ConfigChannel(&htim5, &sConfigOC, TIM_CHANNEL_4) != HAL_OK)
  {
    _Error_Handler(__FILE__, __LINE__);
  }

  HAL_TIM_MspPostInit(&htim5);

}

/* TIM7 init function */
static void MX_TIM7_Init(void)
{

  TIM_MasterConfigTypeDef sMasterConfig;

  htim7.Instance = TIM7;
  htim7.Init.Prescaler = 2097;
  htim7.Init.CounterMode = TIM_COUNTERMODE_UP;
  htim7.Init.Period = 100;
  if (HAL_TIM_Base_Init(&htim7) != HAL_OK)
  {
    _Error_Handler(__FILE__, __LINE__);
  }

  sMasterConfig.MasterOutputTrigger = TIM_TRGO_RESET;
  sMasterConfig.MasterSlaveMode = TIM_MASTERSLAVEMODE_DISABLE;
  if (HAL_TIMEx_MasterConfigSynchronization(&htim7, &sMasterConfig) != HAL_OK)
  {
    _Error_Handler(__FILE__, __LINE__);
  }

}

/* TIM10 init function */
static void MX_TIM10_Init(void)
{

  TIM_ClockConfigTypeDef sClockSourceConfig;

  htim10.Instance = TIM10;
  htim10.Init.Prescaler = 2097;
  htim10.Init.CounterMode = TIM_COUNTERMODE_UP;
  htim10.Init.Period = 3000;
  htim10.Init.ClockDivision = TIM_CLOCKDIVISION_DIV1;
  if (HAL_TIM_Base_Init(&htim10) != HAL_OK)
  {
    _Error_Handler(__FILE__, __LINE__);
  }

  sClockSourceConfig.ClockSource = TIM_CLOCKSOURCE_INTERNAL;
  if (HAL_TIM_ConfigClockSource(&htim10, &sClockSourceConfig) != HAL_OK)
  {
    _Error_Handler(__FILE__, __LINE__);
  }

}

/* TIM11 init function */
static void MX_TIM11_Init(void)
{

  TIM_ClockConfigTypeDef sClockSourceConfig;

  htim11.Instance = TIM11;
  htim11.Init.Prescaler = 2097;
  htim11.Init.CounterMode = TIM_COUNTERMODE_UP;
  htim11.Init.Period = 100;
  htim11.Init.ClockDivision = TIM_CLOCKDIVISION_DIV1;
  if (HAL_TIM_Base_Init(&htim11) != HAL_OK)
  {
    _Error_Handler(__FILE__, __LINE__);
  }

  sClockSourceConfig.ClockSource = TIM_CLOCKSOURCE_INTERNAL;
  if (HAL_TIM_ConfigClockSource(&htim11, &sClockSourceConfig) != HAL_OK)
  {
    _Error_Handler(__FILE__, __LINE__);
  }

}

/* USART3 init function */
static void MX_USART3_UART_Init(void)
{

  huart3.Instance = USART3;
  huart3.Init.BaudRate = 115200;
  huart3.Init.WordLength = UART_WORDLENGTH_8B;
  huart3.Init.StopBits = UART_STOPBITS_1;
  huart3.Init.Parity = UART_PARITY_NONE;
  huart3.Init.Mode = UART_MODE_TX_RX;
  huart3.Init.HwFlowCtl = UART_HWCONTROL_NONE;
  huart3.Init.OverSampling = UART_OVERSAMPLING_16;
  if (HAL_UART_Init(&huart3) != HAL_OK)
  {
    _Error_Handler(__FILE__, __LINE__);
  }

}

static void MX_DMA_Init(void)
{
  /* DMA controller clock enable */
  __HAL_RCC_DMA1_CLK_ENABLE();

  /* DMA interrupt init */
  /* DMA1_Channel1_IRQn interrupt configuration */
  HAL_NVIC_SetPriority(DMA1_Channel1_IRQn, 0, 0);
  HAL_NVIC_EnableIRQ(DMA1_Channel1_IRQn);
  /* DMA1_Channel3_IRQn interrupt configuration */
  HAL_NVIC_SetPriority(DMA1_Channel3_IRQn, 0, 0);
  HAL_NVIC_EnableIRQ(DMA1_Channel3_IRQn);

}

/** Configure pins as
        * Analog
        * Input
        * Output
        * EVENT_OUT
        * EXTI
*/
static void MX_GPIO_Init(void)
{

  GPIO_InitTypeDef GPIO_InitStruct;

  /* GPIO Ports Clock Enable */
  __HAL_RCC_GPIOE_CLK_ENABLE();
  __HAL_RCC_GPIOF_CLK_ENABLE();
  __HAL_RCC_GPIOC_CLK_ENABLE();
  __HAL_RCC_GPIOA_CLK_ENABLE();
  __HAL_RCC_GPIOB_CLK_ENABLE();
  __HAL_RCC_GPIOD_CLK_ENABLE();

  /*Configure GPIO pin Output Level */
  HAL_GPIO_WritePin(GPIOE, GPIO_PIN_2|GPIO_PIN_5, GPIO_PIN_RESET);

  /*Configure GPIO pin Output Level */
  HAL_GPIO_WritePin(GPIOF, GPIO_PIN_0|GPIO_PIN_1|GPIO_PIN_2|GPIO_PIN_3
                          |GPIO_PIN_4|GPIO_PIN_5, GPIO_PIN_RESET);

  /*Configure GPIO pin Output Level */
  HAL_GPIO_WritePin(GPIOB, GPIO_PIN_5|GPIO_PIN_6|GPIO_PIN_7, GPIO_PIN_RESET);

  /*Configure GPIO pins : PE2 PE5 */
  GPIO_InitStruct.Pin = GPIO_PIN_2|GPIO_PIN_5;
  GPIO_InitStruct.Mode = GPIO_MODE_OUTPUT_PP;
  GPIO_InitStruct.Pull = GPIO_NOPULL;
  GPIO_InitStruct.Speed = GPIO_SPEED_FREQ_LOW;
  HAL_GPIO_Init(GPIOE, &GPIO_InitStruct);

  /*Configure GPIO pins : PF0 PF1 PF2 PF3
                           PF4 PF5 */
  GPIO_InitStruct.Pin = GPIO_PIN_0|GPIO_PIN_1|GPIO_PIN_2|GPIO_PIN_3
                          |GPIO_PIN_4|GPIO_PIN_5;
  GPIO_InitStruct.Mode = GPIO_MODE_OUTPUT_PP;
  GPIO_InitStruct.Pull = GPIO_NOPULL;
  GPIO_InitStruct.Speed = GPIO_SPEED_FREQ_LOW;
  HAL_GPIO_Init(GPIOF, &GPIO_InitStruct);

  /*Configure GPIO pins : PB5 PB6 PB7 */
  GPIO_InitStruct.Pin = GPIO_PIN_5|GPIO_PIN_6|GPIO_PIN_7;
  GPIO_InitStruct.Mode = GPIO_MODE_OUTPUT_PP;
  GPIO_InitStruct.Pull = GPIO_NOPULL;
  GPIO_InitStruct.Speed = GPIO_SPEED_FREQ_LOW;
  HAL_GPIO_Init(GPIOB, &GPIO_InitStruct);

  /*Configure GPIO pins : PE0 PE1 */
  GPIO_InitStruct.Pin = GPIO_PIN_0|GPIO_PIN_1;
  GPIO_InitStruct.Mode = GPIO_MODE_INPUT;
  GPIO_InitStruct.Pull = GPIO_NOPULL;
  HAL_GPIO_Init(GPIOE, &GPIO_InitStruct);

}

void _Error_Handler(char *file, int line)
{
  while(1)
  {
  }
}

/************************ (C) COPYRIGHT STMicroelectronics *****END OF FILE****/
